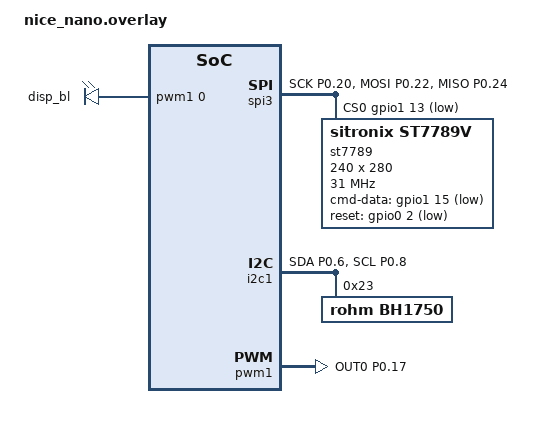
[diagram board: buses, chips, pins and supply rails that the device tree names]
/ {
	pwmleds {
		compatible = "pwm-leds";
		disp_bl: pwm_led_1 {
			pwms = <&pwm1 0 PWM_MSEC(1) PWM_POLARITY_NORMAL>;
		};
	};
};

&spi2 {
	status = "disabled";
};

&pinctrl {
	spi3_default: spi3_default {
		group1 {
			psels = <NRF_PSEL(SPIM_SCK, 0, 20)>,
			        <NRF_PSEL(SPIM_MOSI, 0, 22)>,
			        <NRF_PSEL(SPIM_MISO, 0, 24)>;
		};
	};

	spi3_sleep: spi3_sleep {
		group1 {
			psels = <NRF_PSEL(SPIM_SCK, 0, 20)>,
			        <NRF_PSEL(SPIM_MOSI, 0, 22)>,
			        <NRF_PSEL(SPIM_MISO, 0, 24)>;
			low-power-enable;
		};
	};

	i2c1_default: i2c1_default {
		group1 {
			psels = <NRF_PSEL(TWIM_SDA, 0, 6)>,
					<NRF_PSEL(TWIM_SCL, 0, 8)>;
		};
	};

	i2c1_sleep: i2c1_sleep {
		group1 {
			psels = <NRF_PSEL(TWIM_SDA, 0, 6)>,
					<NRF_PSEL(TWIM_SCL, 0, 8)>;
			low-power-enable;
		};
	};

	pwm1_default: pwm1_default {
		group1 {
			psels = <NRF_PSEL(PWM_OUT0, 0, 17)>;
			nordic,invert;
		};
	};

	pwm1_sleep: pwm1_sleep {
		group1 {
			psels = <NRF_PSEL(PWM_OUT0, 0, 17)>;
			low-power-enable;
		};
	};
};

disp_spi: &spi3 {
	status = "okay";
	pinctrl-0 = <&spi3_default>;
	pinctrl-1 = <&spi3_sleep>;
	pinctrl-names = "default", "sleep";
	cs-gpios = <&gpio1 13 GPIO_ACTIVE_LOW>;

   st7789: st7789v@0 {
       compatible = "sitronix,st7789v";
       spi-max-frequency = <31000000>;
       reg = <0>;
       cmd-data-gpios = <&gpio1 15 GPIO_ACTIVE_LOW>;
       reset-gpios = <&gpio0 2 GPIO_ACTIVE_LOW>;
       width = <240>;
       height = <280>;
       x-offset = <0>;
       y-offset = <20>;
       vcom = <0x19>;
       gctrl = <0x35>;
       vrhs = <0x12>;
       vdvs = <0x20>;
       mdac = <0x00>;
       gamma = <0x01>;
       colmod = <0x05>;
       lcm = <0x2c>;
       porch-param = [ 0c 0c 00 33 33  ];
       cmd2en-param = [ 5a 69 02 01  ];
       pwctrl1-param = [ a4 a1  ];
       pvgam-param = [ D0 04 0D 11 13 2B 3F 54 4C 18 0D 0B 1F 23  ];
       nvgam-param = [ D0 04 0C 11 13 2C 3F 44 51 2F 1F 1F 20 23  ];
       ram-param = [ 00 F0  ];
       rgb-param = [ CD 08 14  ];
   };
};


&i2c1 {
	status = "okay";
	pinctrl-0 = <&i2c1_default>;
	pinctrl-1 = <&i2c1_sleep>;
	pinctrl-names = "default", "sleep";

	bh1750: bh1750@23 {
		status = "okay";
		compatible = "rohm,bh1750";
		reg = <0x23>;
	};
};

/ {
	aliases {
		light-sensor = &bh1750;
	};
};

&pwm1 {
	status = "okay";
	pinctrl-0 = <&pwm1_default>;
	pinctrl-1 = <&pwm1_sleep>;
	pinctrl-names = "default", "sleep";
};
